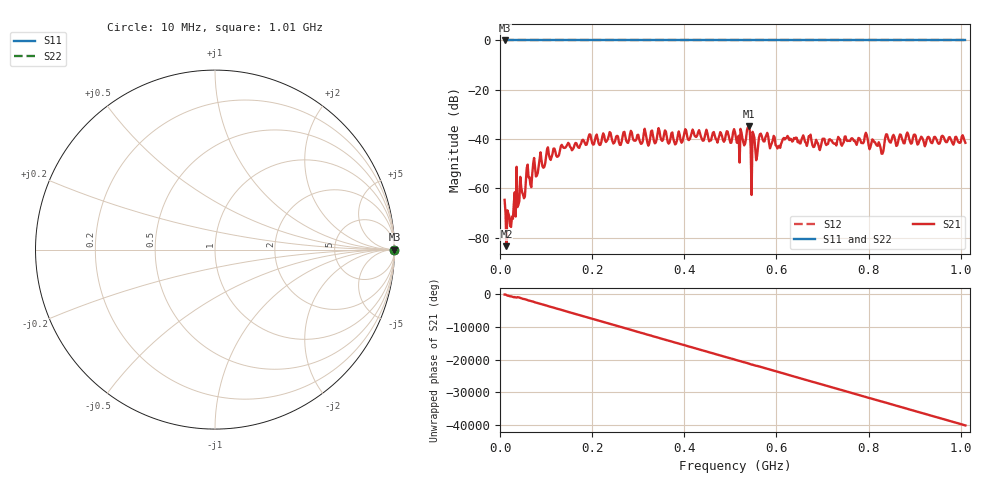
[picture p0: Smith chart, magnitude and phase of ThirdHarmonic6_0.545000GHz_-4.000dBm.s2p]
! 8/15/2025 5:10:01 PM
! C:\ANRITSUVNA\TEMP\TEMP.S2P
! CHANNEL.1
! TR.MEASUREMENT
! RAW.DATA
! RF.CORRECTION.OFF
! AVERAGING.OFF
! IF.BANDWIDTH: 5KHZ
! SWEEPTYPE:  FREQ.SWEEP(Linear)
! Reference Plane Port Info
! PORT:  PORT1  PORT2
! DISTANCE:  0  m  0  m
! TIME:  0  s  0  s
! PHASE.OFFSET:  0  deg.  0  deg.
! LOSS:  0  dB  0  dB
! REF.LOSS:  0  dB  0  dB
! REF.FREQ:  0  Hz  0  Hz
! Power Info
! POWER:  -20  dBm  -20  dBm
! EFF.POWER:  -20  dBm  -20  dBm
! SOURCE.ATTEN:  0  dB  0  dB
! TEST.ATTEN:  0  dB  0  dB
# GHZ S RI R 50.0
! FREQ.GHZ  S11RE  S11IM  S21RE  S21IM  S12RE  S12IM  S22RE  S22IM
!; PortSelection: Port_12
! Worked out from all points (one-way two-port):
!   501 points, 10 MHz to 1.01 GHz, reference 50 ohm
!   highest |S21| = -34.85 dB at 540 MHz (marker M1); lowest = -83.4 dB at 14 MHz (marker M2)
!   lowest |S11| = 0.0 dB at 10 MHz (marker M3)
!   |S11| at or under -10 dB: nowhere
!   |S22| runs from 0.0 to 0.0 dB; largest |S21 - S12| = 1
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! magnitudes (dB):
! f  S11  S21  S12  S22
! 10 MHz  0.0  -64.6  0.0  0.0
! 14 MHz  0.0  -83.4  0.0  0.0
! 24 MHz  0.0  -75.6  0.0  0.0
! 32 MHz  0.0  -61.6  0.0  0.0
! 52 MHz  0.0  -64.0  0.0  0.0
! 60 MHz  0.0  -50.3  0.0  0.0
! 66 MHz  0.0  -58.5  0.0  0.0
! 104 MHz  0.0  -43.3  0.0  0.0
! 178 MHz  0.0  -40.5  0.0  0.0
! 344 MHz  0.0  -35.5  0.0  0.0
! 510 MHz  0.0  -37.2  0.0  0.0
! 516 MHz  0.0  -41.4  0.0  0.0
! 540 MHz  0.0  -34.9  0.0  0.0
! 542 MHz  0.0  -36.5  0.0  0.0
! 550 MHz  0.0  -37.8  0.0  0.0
! 566 MHz  0.0  -37.8  0.0  0.0
! 604 MHz  0.0  -43.1  0.0  0.0
! 678 MHz  0.0  -42.4  0.0  0.0
! 794 MHz  0.0  -37.4  0.0  0.0
! 828 MHz  0.0  -45.9  0.0  0.0
! 844 MHz  0.0  -40.6  0.0  0.0
! 1.01 GHz  0.0  -41.5  0.0  0.0
